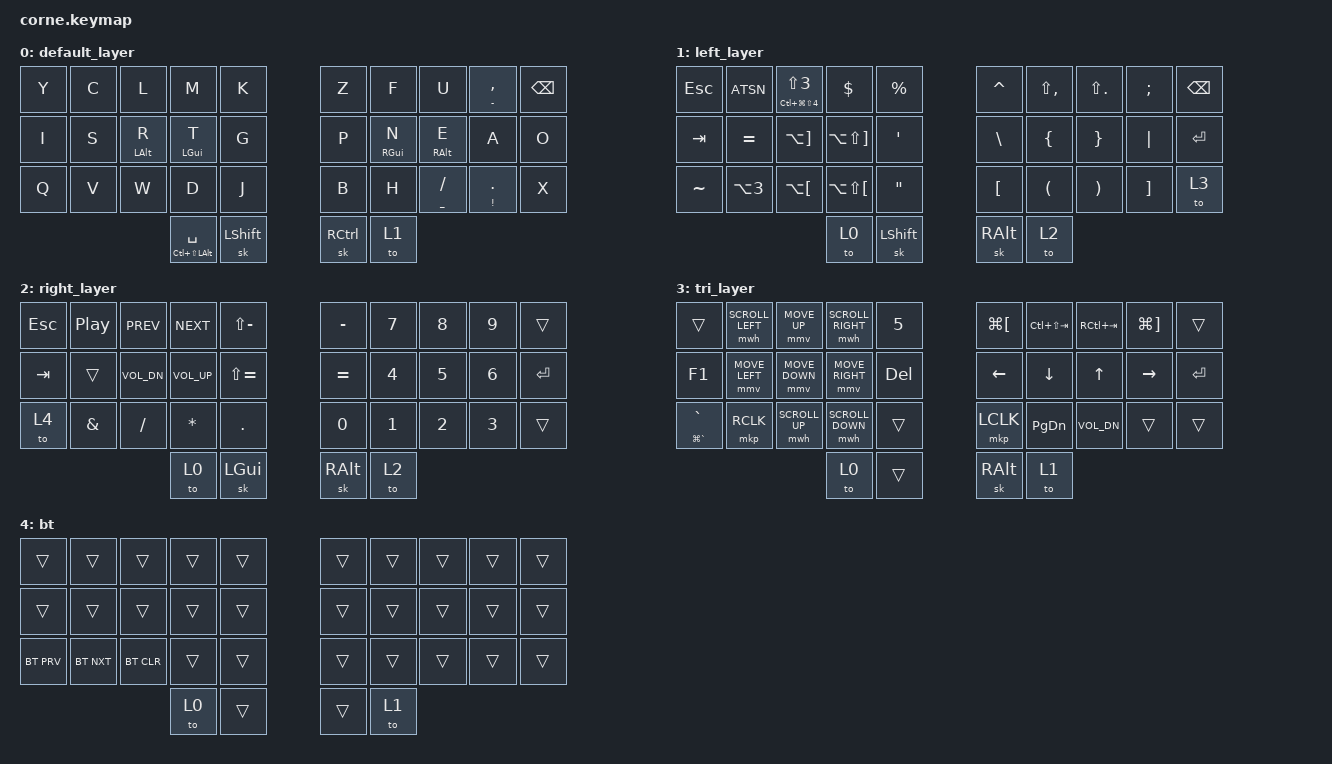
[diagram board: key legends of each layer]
/*
* Copyright (c) 2020 The ZMK Contributors
*
* SPDX-License-Identifier: MIT
*/

#include <behaviors.dtsi>
#include <dt-bindings/zmk/keys.h>
#include <dt-bindings/zmk/bt.h>
#include <dt-bindings/zmk/mouse.h>


&mt {
    flavor = "tap-preferred";
    tapping_term_ms = <200>;
};

&mmv {
   time-to-max-speed-ms = <680>;
   acceleration-exponent=<2>;
};
/ { 

    behaviors {
        hm: homerow_mods {
            compatible = "zmk,behavior-hold-tap";
            label = "HOMEROW_MODS";
            #binding-cells = <2>;
            tapping-term-ms = <200>;
            quick_tap_ms = <0>;
            flavor = "tap-preferred";
            bindings = <&kp>, <&kp>;
        };
	td: tapdance {
            compatible = "zmk,behavior-hold-tap";
            label = "TAPDANCE";
            #binding-cells = <2>;
            tapping-term-ms = <150>;
            quick_tap_ms = <0>;
            flavor = "tap-preferred";
            bindings = <&kp>, <&kp>;
        };
    };

    keymap {
        compatible = "zmk,keymap";
    
        default_layer {
            bindings = <
                &kp Y &kp C &kp L &kp M &kp K 						&kp Z &kp F  &kp U    &td MINUS COMMA  &kp BKSP 
                &kp I &kp S &hm LALT R &hm LGUI T &kp G 			       	&kp P &hm RGUI N &hm RALT E &kp A &kp O
                &kp Q &kp V &kp W &kp D &kp J				        &kp B &kp H  &td UNDERSCORE SLASH &td EXCL DOT &kp X
                                &mt LC(LS(LALT)) SPC &sk LSHIFT  				&sk RCTRL &to 1
            >;
        };

        left_layer {
            bindings = <
                &kp ESC  &kp ATSN   &td LC(LG(LS(N4))) LS(N3) &kp DLLR    &kp PRCNT		&kp CARET &kp LS(COMMA) &kp LS(DOT) &kp SEMI &kp BKSP 
                &kp TAB    &kp EQUAL    &kp LA(RBKT)      &kp LA(LS(RBKT))     &kp SQT 		&kp BSLH &kp LBRC  &kp RBRC &kp PIPE  &kp ENTER
                &kp TILDE    &kp LA(N3) 	&kp LA(LBKT) &kp LA(LS(LBKT))  &kp DQT 	&kp LBKT &kp LPRN &kp RPRN &kp RBKT  &to 3 
                                &to 0  &sk LSHIFT  					&sk RALT &to 2 
            >;
        };
        
        right_layer {
            bindings = <
                &kp ESC  &kp C_PP &kp C_PREV  &kp C_NEXT  &kp LS(MINUS)    			&kp MINUS  &kp N7 &kp N8 &kp N9 &trans
                &kp TAB  &trans   &kp C_VOL_DN  &kp C_VOL_UP  &kp LS(EQUAL) 			&kp EQUAL &kp N4  &kp N5  &kp N6   &kp ENTER
                &to 4  &kp AMPS &kp SLASH &kp STAR &kp DOT    			&kp N0 &kp N1 &kp N2 &kp N3  &trans 
                                &to 0 &sk LGUI  				&sk RALT  &to 2 
            >;
        };
        
        tri_layer {
            bindings = <
                &trans  &mwh SCROLL_LEFT    &mmv MOVE_UP    &mwh SCROLL_RIGHT    &kp NUM_5 			&kp LG(LBKT)   &kp LC(LS(TAB))   &kp RC(TAB) &kp LG(RBKT) &trans
                &kp F1 &mmv MOVE_LEFT &mmv MOVE_DOWN &mmv MOVE_RIGHT &kp DEL  						&kp LEFT &kp DOWN  &kp UP &kp RIGHT &kp ENTER 
                &td LG(GRAVE) GRAVE &mkp RCLK  &mwh SCROLL_UP &mwh SCROLL_DOWN &trans   				&mkp LCLK &kp PG_DN  &kp K_VOL_DN  &trans &trans   
                                &to 0 &trans  					&sk RALT &to 1 
            >;
        };	
        
        bt {
            bindings = <
                &trans  &trans &trans &trans &trans &trans &trans &trans &trans &trans 
                &trans  &trans &trans &trans &trans &trans &trans &trans &trans &trans 
                &bt BT_PRV  &bt BT_NXT &bt BT_CLR &trans &trans   				&trans &trans  &trans  &trans &trans   
                                &to 0 &trans  					&trans &to 1 
            >;
        };
        
	};
};


/*{
    keymap {
        compatible = "zmk,keymap";

        default_layer {
                // -----------------------------------------------------------------------------------------
                // |  TAB |  Q  |  W  |  E  |  R  |  T  |   |  Y  |  U   |  I  |  O  |  P  | BKSP |
                // | CTRL |  A  |  S  |  D  |  F  |  G  |   |  H  |  J   |  K  |  L  |  ;  |  '   |
                // | SHFT |  Z  |  X  |  C  |  V  |  B  |===|  N  |  M   |  ,  |  .  |  /  | ESC  |
                //                    | GUI | LWR | SPC |   | ENT | RSE  | ALT |
            bindings = <
                &kp TAB   &kp Q &kp W &kp E &kp R &kp T   &kp Y &kp U  &kp I     &kp O   &kp P    &kp BSPC
                &kp LCTRL &kp A &kp S &kp D &kp F &kp G   &kp H &kp J  &kp K     &kp L   &kp SEMI &kp SQT
                &kp LSHFT &kp Z &kp X &kp C &kp V &kp B   &kp N &kp M  &kp COMMA &kp DOT &kp FSLH &kp ESC
                                &kp LGUI &mo 1 &kp SPACE   &kp RET &mo 2 &kp RALT
            >;
        };
        lower_layer {
                // -----------------------------------------------------------------------------------------
                // |  TAB |  1  |  2  |  3  |  4  |  5  |   |  6  |  7  |  8  |  9  |  0  | BKSP |
                // | BTCLR| BT1 | BT2 | BT3 | BT4 | BT5 |   | LFT | DWN |  UP | RGT |     |      |
                // | SHFT |     |     |     |     |     |===|     |     |     |     |     |      |
                //                    | GUI |     | SPC |   | ENT |     | ALT |
            bindings = <
                &kp TAB    &kp N1       &kp N2       &kp N3       &kp N4       &kp N5         &kp N6   &kp N7   &kp N8 &kp N9    &kp N0 &kp BSPC
                &bt BT_CLR &bt BT_SEL 0 &bt BT_SEL 1 &bt BT_SEL 2 &bt BT_SEL 3 &bt BT_SEL 4   &kp LEFT &kp DOWN &kp UP &kp RIGHT &trans &trans
                &kp LSHFT  &trans       &trans       &trans       &trans       &trans         &trans   &trans   &trans &trans    &trans &trans
                            &kp LGUI     &trans       &kp SPACE      &kp RET  &trans   &kp RALT
            >;
        };

        raise_layer {
                // -----------------------------------------------------------------------------------------
                // |  TAB |  !  |  @  |  #  |  $  |  %  |   |  ^  |  &  |  *  |  (  |  )  | BKSP |
                // | CTRL |     |     |     |     |     |   |  -  |  =  |  [  |  ]  |  \  |  `   |
                // | SHFT |     |     |     |     |     |===|  _  |  +  |  {  |  }  | "|" |  ~   |
                //                    | GUI |     | SPC |   | ENT |     | ALT |
            bindings = <
                &kp  TAB  &kp EXCL &kp AT &kp HASH &kp DLLR &kp PRCNT   &kp CARET &kp AMPS  &kp KP_MULTIPLY &kp LPAR &kp RPAR &kp BSPC
                &kp LCTRL &trans   &trans &trans   &trans   &trans      &kp MINUS &kp EQUAL &kp LBKT        &kp RBKT &kp BSLH &kp GRAVE
                &kp LSHFT &trans   &trans &trans   &trans   &trans      &kp UNDER &kp PLUS  &kp LBRC        &kp RBRC &kp PIPE &kp TILDE
                                        &kp LGUI &trans   &kp SPACE   &kp RET   &trans    &kp RALT
            >;
        };
    };
}; //*/
